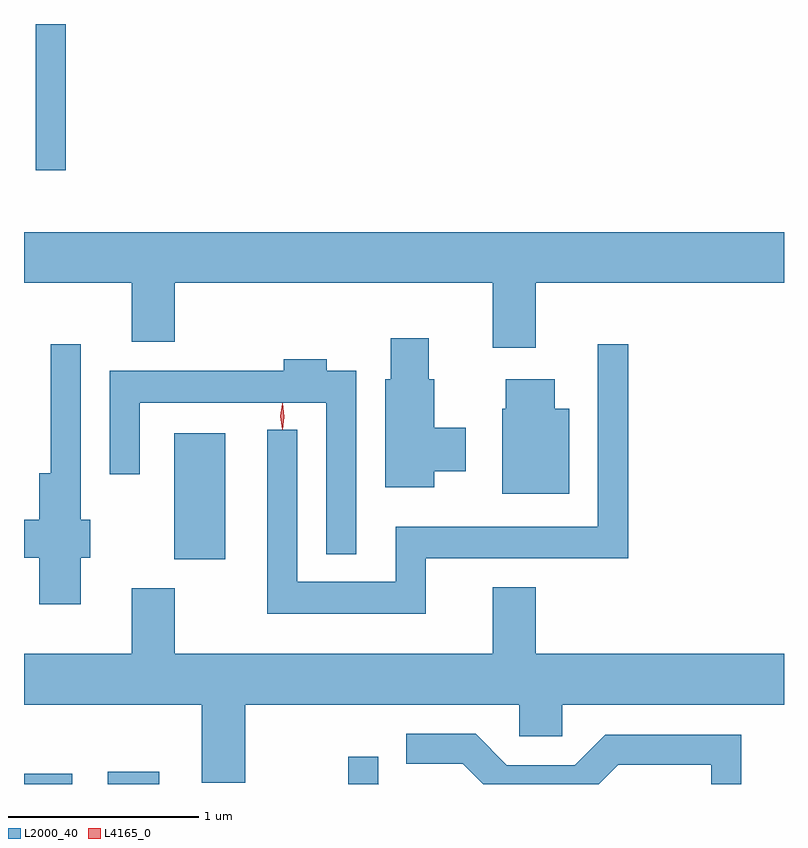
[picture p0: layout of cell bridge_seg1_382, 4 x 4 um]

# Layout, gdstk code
import gdstk
lib = gdstk.Library(unit=1e-6, precision=1e-09)
def R(c, l, rs):  # rectangles x0, y0, x1, y1
    for r in rs: c.add(gdstk.rectangle(r[:2], r[2:], *l))
def P(c, l, *ps):  # polygons
    for p in ps: c.add(gdstk.Polygon(p, *l))
L2000_40 = (2000, 40)
L4165_0 = (4165, 0)

bridge_seg1_382 = lib.new_cell('bridge_seg1_382')
R(bridge_seg1_382, L2000_40, [(558.945,967.979,559.199,968.034), (559.386,967.979,559.658,968.044), (559.736,969.161,560.004,969.824), (559.006,971.208,559.164,971.979)])
P(bridge_seg1_382, L2000_40, [(561.639,970.616),(562.945,970.616),(562.945,970.884),(558.945,970.884),(558.945,970.616),(559.511,970.616),(559.511,970.306),(559.739,970.306),(559.739,970.616),(561.411,970.616),(561.411,970.276),(561.639,970.276)],
  [(561.104,969.626),(561.269,969.626),(561.269,969.854),(561.104,969.854),(561.104,970.109),(561.074,970.109),(561.074,970.324),(560.876,970.324),(560.876,970.109),(560.846,970.109),(560.846,969.541),(561.104,969.541)],
  [(561.059,969.166),(562.124,969.166),(562.124,970.293),(561.966,970.293),(561.966,969.334),(560.901,969.334),(560.901,969.044),(560.384,969.044),(560.384,969.843),(560.226,969.843),(560.226,968.876),(561.059,968.876)],
  [(559.244,969.171),(559.294,969.171),(559.294,969.369),(559.244,969.369),(559.244,970.293),(559.086,970.293),(559.086,969.614),(559.026,969.614),(559.026,969.369),(558.945,969.369),(558.945,969.171),(559.026,969.171),(559.026,968.926),(559.244,968.926)],
  [(560.694,970.154),(560.539,970.154),(560.539,970.214),(560.311,970.214),(560.311,970.154),(559.396,970.154),(559.396,969.608),(559.554,969.608),(559.554,969.986),(560.536,969.986),(560.536,969.188),(560.694,969.188)],
  [(561.814,969.954),(561.739,969.954),(561.739,970.109),(561.481,970.109),(561.481,969.954),(561.461,969.954),(561.461,969.506),(561.814,969.506)],
  [(560.109,968.396),(561.551,968.396),(561.551,968.231),(561.779,968.231),(561.779,968.396),(562.945,968.396),(562.945,968.664),(561.639,968.664),(561.639,969.014),(561.411,969.014),(561.411,968.664),(559.739,968.664),(559.739,969.009),(559.511,969.009),(559.511,968.664),(558.945,968.664),(558.945,968.396),(559.881,968.396),(559.881,967.986),(560.109,967.986)],
  [(562.072,968.081),(562.561,968.081),(562.561,967.979),(562.719,967.979),(562.719,968.239),(562.004,968.239),(561.844,968.079),(561.487,968.079),(561.322,968.244),(560.958,968.244),(560.958,968.086),(561.254,968.086),(561.361,967.979),(561.97,967.979)],
  [(560.809,967.982),(560.809,968.123),(560.651,968.123),(560.651,967.979),(560.812,967.979)])
P(bridge_seg1_382, L4165_0, [(560.304,969.844),(560.295,969.913),(560.304,969.982),(560.305,969.983),(560.306,969.982),(560.315,969.913),(560.306,969.844),(560.305,969.844)],
  [(560.303,969.847),(560.294,969.914),(560.303,969.98),(560.304,969.98),(560.304,969.98),(560.314,969.914),(560.304,969.847),(560.304,969.847)])

lib.write_gds('bridge_seg1_382.gds')
